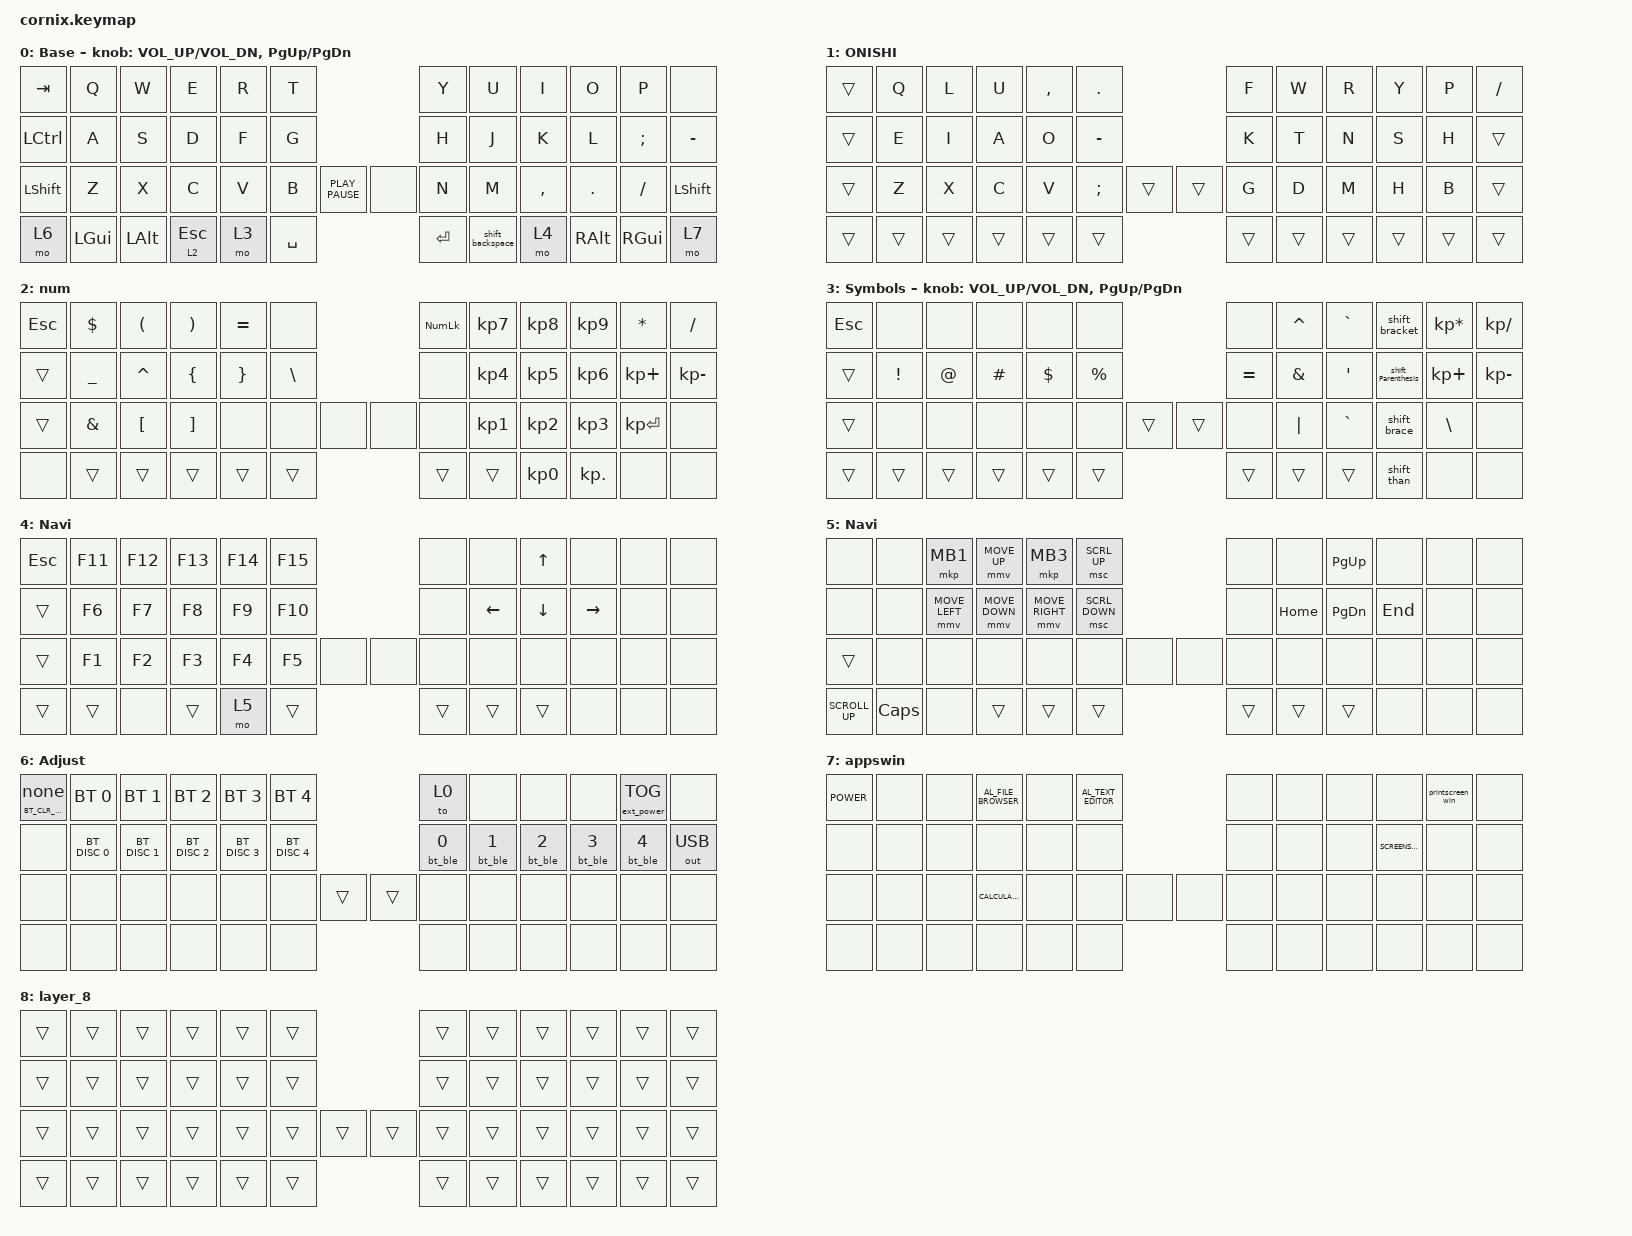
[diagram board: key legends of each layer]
/*
 * Copyright (c) 2020 The ZMK Contributors
 *
 * SPDX-License-Identifier: MIT
 */

#include "zmk-helpers/helper.h"
#include "includes/cornix54.h"

// tap windows for ctl alt and gui

#define HM_TAPPING_TERM 250
#define HM_TAPPING_REPEAT 210

// quick tapping for shift

#define HM_TAPPING_TERM_FAST 200
#define HM_PRIOR_IDLE 70
#define BASE 0
#define WIN 1
#define LOWER 2
#define RAISE 3
#define ADJUST 4
#define NAVI   5
#define NUM    6
#define DEBUG  7

// https://github.com/urob/zmk-config/tree/main#timeless-homerow-mods

#define KEYS_L LT0 LT1 LT2 LT3 LT4 LT5 LM0 LM1 LM2 LM3 LM4 LM5 LB0 LB1 LB2 LB3 LB4 LB5  // left hand
#define KEYS_R RT0 RT1 RT2 RT3 RT4 RT5 RM0 RM1 RM2 RM3 RM4 RM5 RB0 RB1 RB2 RB3 RB4 RB5  // right hand
#define THUMBS LH1 LH0 RH0 RH1
#define KEYS_T LH1 LH0 RH0 RH1
#define ZMK_POINTING_DEFAULT_SCRL_VAL 15

#include <behaviors.dtsi>
#include <dt-bindings/zmk/bt.h>
#include <dt-bindings/zmk/ext_power.h>
#include <dt-bindings/zmk/keys.h>
#include <dt-bindings/zmk/outputs.h>
#include <dt-bindings/zmk/pointing.h>

/ {
    // Activate ADJUST layer by pressing raise and lower

    behaviors {
        hm_l: homerow_mods_left {
            compatible = "zmk,behavior-hold-tap";
            #binding-cells = <2>;
            bindings = <&kp>, <&kp>;

            flavor = "balanced";
            tapping-term-ms = <HM_TAPPING_TERM>;
            quick-tap-ms = <200>;                // repeat on tap-into-hold
            require-prior-idle-ms = <HM_PRIOR_IDLE>;
            hold-trigger-key-positions = <KEYS_R KEYS_T>;
            hold-trigger-on-release;
        };

        hm_r: homerow_mods_right {
            compatible = "zmk,behavior-hold-tap";
            #binding-cells = <2>;
            bindings = <&kp>, <&kp>;

            flavor = "balanced";
            tapping-term-ms = <HM_TAPPING_TERM>;
            quick-tap-ms = <200>;
            require-prior-idle-ms = <HM_PRIOR_IDLE>;
            hold-trigger-key-positions = <KEYS_L KEYS_T>;
            hold-trigger-on-release;
        };

        // Positional Homerow mods for shift
        // Use faster tapping term and disable some features that may
        // cause false negatives.

        hm_shift_l: hm_shift_l {
            compatible = "zmk,behavior-hold-tap";
            #binding-cells = <2>;
            bindings = <&kp>, <&kp>;

            //flavor = "balanced";

            flavor = "balanced";
            tapping-term-ms = <HM_TAPPING_TERM_FAST>;
            quick-tap-ms = <200>;
            require-prior-idle-ms = <HM_PRIOR_IDLE>;
            hold-trigger-key-positions = <KEYS_R KEYS_T>;
            hold-trigger-on-release;
        };

        hm_shift_r: hm_shift_r {
            compatible = "zmk,behavior-hold-tap";
            #binding-cells = <2>;
            bindings = <&kp>, <&kp>;

            flavor = "balanced";
            tapping-term-ms = <HM_TAPPING_TERM_FAST>;
            quick-tap-ms = <200>;
            require-prior-idle-ms = <HM_PRIOR_IDLE>;
            hold-trigger-key-positions = <KEYS_L KEYS_T>;

            // for quick tapping; shift+~

            hold-trigger-on-release;
        };

        /*
         * Non-Positional Homerow Mods
         * Used for &mm_grescm_gui behavior on left hand.
         *
         * Usage: &hm LSHFT T
         * Tap: T
         * Tap-Tap-Hold: Repeat T
         * Hold: LSHIFT
         */

        hm: homerow_mods {
            compatible = "zmk,behavior-hold-tap";
            #binding-cells = <2>;
            bindings = <&kp>, <&kp>;

            flavor = "balanced";
            tapping-term-ms = <HM_TAPPING_TERM>;
            quick-tap-ms = <200>;
        };

        lt: layer_tap {
            compatible = "zmk,behavior-hold-tap";
            #binding-cells = <2>;
            bindings = <&mo>, <&kp>;

            flavor = "hold-preferred";
            tapping-term-ms = <HM_TAPPING_TERM>;
            quick-tap-ms = <200>;
        };

        shift_backspace: shift_backspace {
            compatible = "zmk,behavior-mod-morph";
            label = "SHIFT_BACKSPACE";
            bindings = <&kp BACKSPACE>, <&kp DELETE>;

            #binding-cells = <0>;
            mods = <(MOD_LSFT)>;
        };

        shift_Parenthesis: shift_Parenthesis {
            compatible = "zmk,behavior-mod-morph";
            label = "SHIFT_PARENTHESIS";
            bindings = <&kp LEFT_PARENTHESIS>, <&kp RIGHT_PARENTHESIS>;

            #binding-cells = <0>;
            mods = <(MOD_LSFT)>;
        };

        shift_brace: shift_brace {
            compatible = "zmk,behavior-mod-morph";
            label = "SHIFT_BRACE";
            bindings = <&kp LEFT_BRACE>, <&kp RIGHT_BRACE>;

            #binding-cells = <0>;
            mods = <(MOD_LSFT)>;
        };

        shift_bracket: shift_bracket {
            compatible = "zmk,behavior-mod-morph";
            label = "SHIFT_BRACKET";
            bindings = <&kp LEFT_BRACKET>, <&kp RIGHT_BRACKET>;

            #binding-cells = <0>;
            mods = <(MOD_LSFT)>;
        };

        shift_than: shift_than {
            compatible = "zmk,behavior-mod-morph";
            label = "SHIFT_THAN";
            bindings = <&kp LESS_THAN>, <&kp GREATER_THAN>;

            #binding-cells = <0>;
            mods = <(MOD_LSFT)>;
        };

        Ctrl_up: Ctrl_up {
            compatible = "zmk,behavior-mod-morph";
            label = "CTRL_UP";
            bindings = <&kp UP_ARROW>, <&kp PAGE_UP>;

            #binding-cells = <0>;
            mods = <(MOD_LCTL)>;
        };

        Ctrl_down: Ctrl_down {
            compatible = "zmk,behavior-mod-morph";
            label = "CTRL_DOWN";
            bindings = <&kp DOWN_ARROW>, <&kp PAGE_DOWN>;

            #binding-cells = <0>;
            mods = <(MOD_LCTL)>;
        };

        Ctrl_left: Ctrl_left {
            compatible = "zmk,behavior-mod-morph";
            label = "CTRL_LEFT";
            bindings = <&kp LEFT_ARROW>, <&kp HOME>;

            #binding-cells = <0>;
            mods = <(MOD_LCTL)>;
        };

        Ctrl_right: Ctrl_right {
            compatible = "zmk,behavior-mod-morph";
            label = "CTRL_RIGHT";
            bindings = <&kp RIGHT_ARROW>, <&kp END>;

            #binding-cells = <0>;
            mods = <(MOD_LCTL)>;
        };

        // Hold for 1 s to clear the bond of the active profile; a tap does nothing.
        // Keeps BT_CLR from firing on a stray press next to BT_SEL.
        bt_clr_hold: bt_clr_hold {
            compatible = "zmk,behavior-hold-tap";
            #binding-cells = <2>;
            bindings = <&bt>, <&none>;

            flavor = "tap-preferred";
            tapping-term-ms = <1000>;
        };
    };

    conditional_layers { compatible = "zmk,conditional-layers"; };

    combos {
        compatible = "zmk,combos";

        cb_ltm {
            bindings = <&kp ESC>;
            key-positions = <2 4>;
            layers = <0>;
        };

        cb_lm {
            bindings = <&kp LANGUAGE_2>;
            key-positions = <14 16>;
            layers = <0>;
        };

        jp {
            bindings = <&kp LANGUAGE_1>;
            key-positions = <21 19>;
            layers = <0>;
        };

        // Left thumb: num (lt 2 ESC) + Symbols (mo 3) together holds Adjust.
        adjust_thumbs {
            bindings = <&mo 6>;
            key-positions = <41 42>;
            layers = <0>;
        };
    };

    macros {
        // Send to Bluetooth and select profile N in one press, even while USB is plugged in.
        bt_ble: bt_ble {
            compatible = "zmk,behavior-macro-one-param";
            #binding-cells = <1>;
            bindings = <&out OUT_BLE>, <&macro_param_1to2>, <&bt BT_SEL_CMD MACRO_PLACEHOLDER>;
        };

        printscreen_win: printscreen {
            compatible = "zmk,behavior-macro";
            #binding-cells = <0>;
            bindings = <&kp LG(LS(S))>;
            label = "PRINTSCREEN";
        };
    };

    keymap {
        compatible = "zmk,keymap";

        QWERTY {
            display-name = "Base";

            // ------------------------------------------------------------------------------------------------------------
            // |   `   |  1  |  2  |  3   |  4   |  5   |                   |  6   |  7    |  8    |  9   |   0   |       |
            // |  ESC  |  Q  |  W  |  E   |  R   |  T   |                   |  Y   |  U    |  I    |  O   |   P   | BKSPC |
            // |  TAB  |  A  |  S  |  D   |  F   |  G   |                   |  H   |  J    |  K    |  L   |   ;   |   '   |
            // | SHIFT |  Z  |  X  |  C   |  V   |  B   |  MUTE  |  |       |  N   |  M    |  ,    |  .   |   /   | SHIFT |
            //               | GUI | ALT  | CTRL | LOWER|  ENTER |  | SPACE | RAISE| CTRL  | ALT   | GUI  |

            bindings = <
&kp TAB         &kp Q     &kp W         &kp E         &kp R  &kp T                               &kp Y      &kp U             &kp I      &kp O          &kp P          &none
&kp LCTRL       &kp A     &kp S         &kp D         &kp F  &kp G                               &kp H      &kp J             &kp K      &kp L          &kp SEMICOLON  &kp MINUS
&kp LEFT_SHIFT  &kp Z     &kp X         &kp C         &kp V  &kp B      &kp K_PLAY_PAUSE  &none  &kp N      &kp M             &kp COMMA  &kp DOT        &kp FSLH       &kp LEFT_SHIFT
&mo 6           &kp LGUI  &kp LEFT_ALT  &lt 2 ESCAPE  &mo 3  &kp SPACE                           &kp ENTER  &shift_backspace  &mo 4      &kp RIGHT_ALT  &kp RIGHT_GUI  &mo 7
            >;

            sensor-bindings = <&inc_dec_kp C_VOL_UP C_VOL_DN &inc_dec_kp PG_UP PG_DN>;
        };

        ONISHI {
            bindings = <
&trans  &kp Q   &kp L   &kp U   &kp COMMA  &kp DOT                    &kp F   &kp W   &kp R   &kp Y   &kp P   &kp FSLH
&trans  &kp E   &kp I   &kp A   &kp O      &kp MINUS                  &kp K   &kp T   &kp N   &kp S   &kp H   &trans
&trans  &kp Z   &kp X   &kp C   &kp V      &kp SEMI   &trans  &trans  &kp G   &kp D   &kp M   &kp H   &kp B   &trans
&trans  &trans  &trans  &trans  &trans     &trans                     &trans  &trans  &trans  &trans  &trans  &trans
            >;
        };

        num {
            bindings = <
&kp ESCAPE  &kp DOLLAR      &kp LEFT_PARENTHESIS  &kp RIGHT_PARENTHESIS  &kp EQUAL        &none                         &kp KP_NUMLOCK  &kp KP_N7  &kp KP_N8  &kp KP_NUMBER_9  &kp ASTERISK  &kp SLASH
&trans      &kp UNDERSCORE  &kp CARET             &kp LEFT_BRACE         &kp RIGHT_BRACE  &kp BACKSLASH                 &none           &kp KP_N4  &kp KP_N5  &kp KP_NUMBER_6  &kp KP_PLUS   &kp KP_MINUS
&trans      &kp AMPERSAND   &kp LEFT_BRACKET      &kp RIGHT_BRACKET      &none            &none          &none  &none  &none           &kp KP_N1  &kp KP_N2  &kp KP_NUMBER_3  &kp KP_ENTER  &none
&none       &trans        &trans        &trans        &trans        &trans                &trans          &trans     &kp KP_N0  &kp KP_DOT       &none         &none
            >;
        };

        Symbol_layer {
            display-name = "Symbols";

            // TODO: Some binds are waiting for shifted keycode support.
            // -------------------------------
            // |       |  F1 |  F2 |  F3  |  F4  |  F5  |                   |  F6  |  F7   |  F8   |  F9  |  F10  |  F11  |
            // |   `   |  1  |  2  |  3   |  4   |  5   |                   |  6   |  7    |  8    |  9   |   0   |  F12  |
            // |       |  !  |  @  |  #   |  $   |  %   |                   |  ^   |  &    |  *    |  (   |   )   |   |   |
            // |       |  =  |  -  |  +   |  {   |  }   |        |  |       |  [   |  ]    |  ;    |  :   |   \   |       |
            //               |     |      |      |      |        |  |       |      |       |       |      |

            bindings = <
&kp ESCAPE  &none     &none   &none     &none       &none                      &none      &kp CARET      &kp GRAVE       &shift_bracket      &kp KP_MULTIPLY  &kp KP_DIVIDE
&trans      &kp EXCL  &kp AT  &kp HASH  &kp DOLLAR  &kp PRCNT                  &kp EQUAL  &kp AMPERSAND  &kp APOSTROPHE  &shift_Parenthesis  &kp KP_PLUS      &kp KP_MINUS
&trans      &none     &none   &none     &none       &none      &trans  &trans  &none      &kp PIPE       &kp GRAVE       &shift_brace        &kp BACKSLASH    &none
&trans      &trans    &trans  &trans    &trans      &trans                     &trans     &trans         &trans          &shift_than         &none            &none
            >;

            sensor-bindings = <&inc_dec_kp C_VOL_UP C_VOL_DN &inc_dec_kp PG_UP PG_DN>;
        };

        Navi_layer {
            display-name = "Navi";
            bindings = <
&kp ESCAPE  &kp F11  &kp F12  &kp F13  &kp F14  &kp F15                &none   &none           &kp UP_ARROW    &none            &none  &none
&trans      &kp F6   &kp F7   &kp F8   &kp F9   &kp F10                &none   &kp LEFT_ARROW  &kp DOWN_ARROW  &kp RIGHT_ARROW  &none  &none
&trans      &kp F1   &kp F2   &kp F3   &kp F4   &kp F5   &none  &none  &none   &none           &none           &none            &none  &none
&trans      &trans   &none    &trans   &mo 5    &trans                 &trans  &trans          &trans          &none            &none  &none
            >;
        };

        MOVE {
            display-name = "Navi";
            bindings = <
&none            &none         &mkp MB1        &mmv MOVE_UP    &mkp MB3         &msc SCRL_UP                  &none   &none     &kp PAGE_UP    &none    &none  &none
&none            &none         &mmv MOVE_LEFT  &mmv MOVE_DOWN  &mmv MOVE_RIGHT  &msc SCRL_DOWN                &none   &kp HOME  &kp PAGE_DOWN  &kp END  &none  &none
&trans           &none         &none           &none           &none            &none           &none  &none  &none   &none     &none          &none    &none  &none
&kp K_SCROLL_UP  &kp CAPSLOCK  &none           &trans          &trans           &trans                        &trans  &trans    &trans         &none    &none  &none
            >;
        };

        Adjust_layer {
            display-name = "Adjust";

            // Hold mo 6 (bottom-left corner) or press num + Symbols with the left thumb.
            // Profiles: 0 = this PC (hm-wks-01), 1 = Galaxy Z Fold5, 2 = work laptop.
            // | CLR(1s) | BT0  | BT1  | BT2  | BT3  | BT4  |   | TO 0  |       |       |       | EXTPWR |      |
            // |         | DIS0 | DIS1 | DIS2 | DIS3 | DIS4 |   | BLE0  | BLE1  | BLE2  | BLE3  | BLE4   | USB  |
            // BLEn = output to Bluetooth and select profile n. USB = output to USB. The left BTn only selects the profile.

            bindings = <
&bt_clr_hold BT_CLR_CMD 0  &bt BT_SEL 0   &bt BT_SEL 1   &bt BT_SEL 2   &bt BT_SEL 3   &bt BT_SEL 4                   &to 0          &none          &none          &none          &ext_power EP_TOG  &none
&none                      &bt BT_DISC 0  &bt BT_DISC 1  &bt BT_DISC 2  &bt BT_DISC 3  &bt BT_DISC 4                  &bt_ble 0      &bt_ble 1      &bt_ble 2      &bt_ble 3      &bt_ble 4          &out OUT_USB
&none                      &none          &none          &none          &none          &none          &trans  &trans  &none   &none          &none          &none          &none              &none
&none           &none          &none          &none          &none          &none                          &none  &none  &none  &none  &none              &none
            >;
        };

        appswin {
            bindings = <
&kp K_POWER  &none  &none  &kp C_AL_FILE_BROWSER  &none  &kp C_AL_TEXT_EDITOR                &none  &none  &none  &none              &printscreen_win  &none
&none        &none  &none  &none                  &none  &none                               &none  &none  &none  &kp K_SCREENSAVER  &none             &none
&none        &none  &none  &kp K_CALCULATOR       &none  &none                 &none  &none  &none  &none  &none  &none              &none             &none
&none        &none  &none  &none                  &none  &none                               &none  &none  &none  &none              &none             &none
            >;
        };

        layer_8 {
            bindings = <
&trans  &trans  &trans  &trans  &trans  &trans                  &trans  &trans  &trans  &trans  &trans  &trans
&trans  &trans  &trans  &trans  &trans  &trans                  &trans  &trans  &trans  &trans  &trans  &trans
&trans  &trans  &trans  &trans  &trans  &trans  &trans  &trans  &trans  &trans  &trans  &trans  &trans  &trans
&trans  &trans  &trans  &trans  &trans  &trans                  &trans  &trans  &trans  &trans  &trans  &trans
            >;
        };
    };
};
